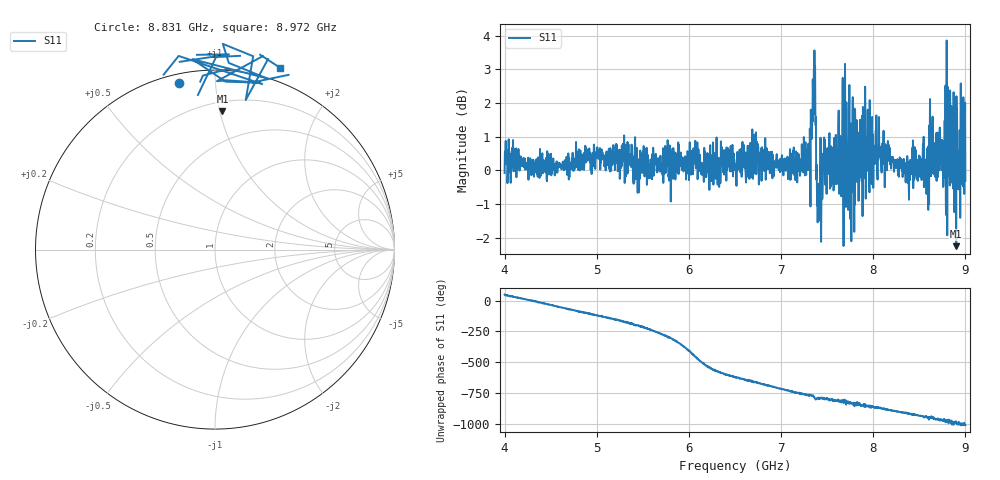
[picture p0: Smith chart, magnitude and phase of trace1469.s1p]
! Created with skrf 1.8.0 (http://scikit-rf.org).
# Hz S RI R 50.0
!freq ReS11 ImS11
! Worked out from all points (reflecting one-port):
!   1601 points, 4 GHz to 9 GHz, reference 50 ohm
!   lowest |S11| = -2.2 dB at 8.9 GHz (marker M1), VSWR 7.77, Z = 13.4 + j50.9 ohm
!   phase of S11 starts at 49 deg and turns -1059 deg over the sweep
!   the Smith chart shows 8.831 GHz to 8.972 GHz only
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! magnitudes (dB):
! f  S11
! 4 GHz  -0.1
! 4.625 GHz  0.1
! 5.25 GHz  -0.2
! 5.875 GHz  0.1
! 6.5 GHz  0.0
! 6.725 GHz  0.1
! 7.125 GHz  0.1
! 7.294 GHz  0.0
! 7.347 GHz  2.2
! 7.369 GHz  3.1
! 7.397 GHz  -1.5
! 7.412 GHz  -0.9
! 7.45 GHz  -0.5
! 7.653 GHz  -0.8
! 7.688 GHz  1.6
! 7.703 GHz  -1.1
! 7.75 GHz  -1.4
! 7.928 GHz  0.9
! 7.981 GHz  -0.4
! 8.088 GHz  0.1
! 8.375 GHz  0.3
! 8.581 GHz  0.2
! 8.634 GHz  0.0
! 8.766 GHz  0.5
! 8.822 GHz  1.7
! 8.9 GHz  -2.2
! 8.972 GHz  0.6
! 9 GHz  -0.3
